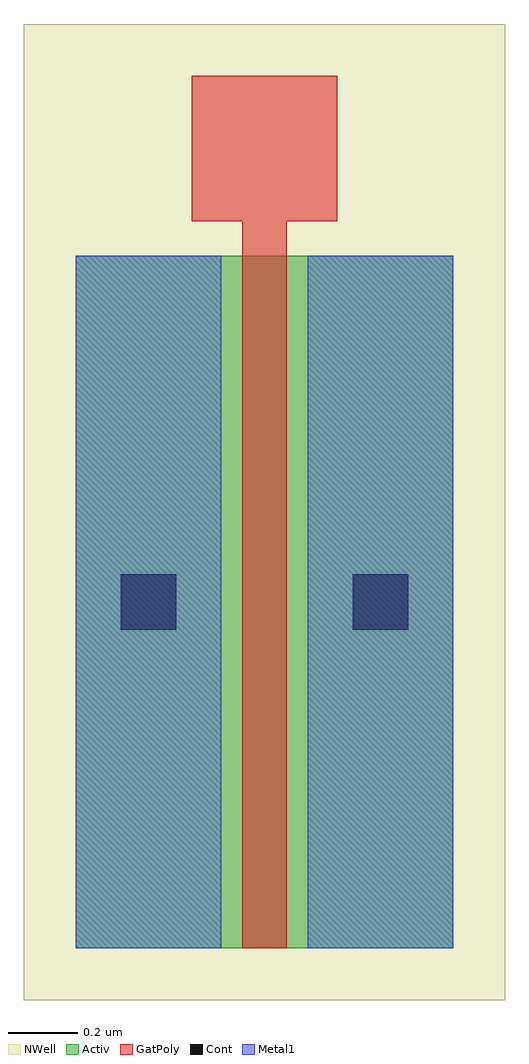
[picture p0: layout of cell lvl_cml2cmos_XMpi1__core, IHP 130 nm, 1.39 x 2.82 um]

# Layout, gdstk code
import gdstk
lib = gdstk.Library(unit=1e-6, precision=1e-09)
def R(c, l, rs):  # rectangles x0, y0, x1, y1
    for r in rs: c.add(gdstk.rectangle(r[:2], r[2:], *l))
Activ = (1, 0)
GatPoly = (5, 0)
Cont = (6, 0)
Metal1 = (8, 0)
NWell = (31, 0)

lvl_cml2cmos_xmpi1__core = lib.new_cell('lvl_cml2cmos_XMpi1__core')
R(lvl_cml2cmos_xmpi1__core, Activ, [(0,0,1.09,2)])
R(lvl_cml2cmos_xmpi1__core, GatPoly, [(0.48,0,0.61,2), (0.48,2,0.61,2.1), (0.335,2.1,0.755,2.52)])
R(lvl_cml2cmos_xmpi1__core, Cont, [(0.13,0.92,0.29,1.08), (0.8,0.92,0.96,1.08)])
R(lvl_cml2cmos_xmpi1__core, Metal1, [(0,0,0.42,2), (0.67,0,1.09,2)])
R(lvl_cml2cmos_xmpi1__core, NWell, [(-0.15,-0.15,1.24,2.67)])

lib.write_gds('lvl_cml2cmos_XMpi1__core.gds')
